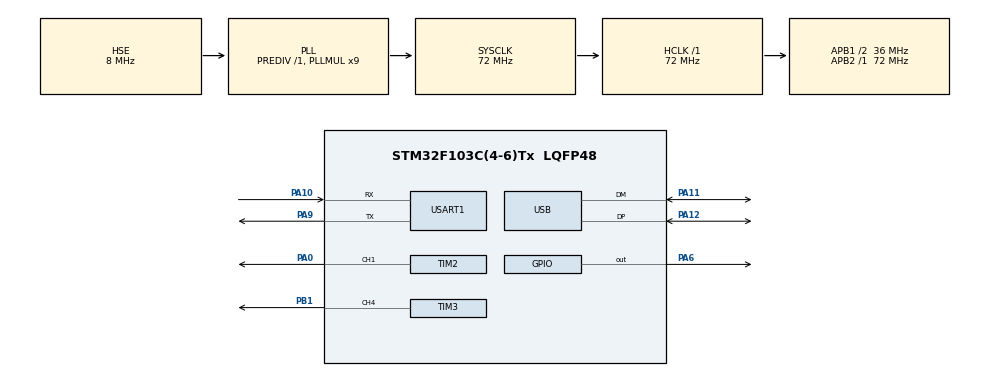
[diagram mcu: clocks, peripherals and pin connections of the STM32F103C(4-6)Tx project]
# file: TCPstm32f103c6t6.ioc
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FREERTOS.Tasks01=defaultTask,0,128,StartDefaultTask,Default,NULL,Dynamic,NULL,NULL
Mcu.Family=STM32F1
Mcu.Name=STM32F103C(4-6)Tx
Mcu.Package=LQFP48
NVIC.PriorityGroup=NVIC_PRIORITYGROUP_4
NVIC.USB_LP_CAN1_RX0_IRQn=true\:5\:0\:false\:false\:true\:true\:false\:true\:true
PA0-WKUP.Signal=S_TIM2_CH1_ETR
PA10.Mode=Asynchronous
PA10.Signal=USART1_RX
PA11.Mode=Device
PA11.Signal=USB_DM
PA12.Mode=Device
PA12.Signal=USB_DP
PA6.Signal=GPIO_Output
PA9.Mode=Asynchronous
PA9.Signal=USART1_TX
PB1.Signal=S_TIM3_CH4
PD0-OSC_IN.Mode=HSE-External-Oscillator
PD0-OSC_IN.Signal=RCC_OSC_IN
PD1-OSC_OUT.Mode=HSE-External-Oscillator
PD1-OSC_OUT.Signal=RCC_OSC_OUT
ProjectManager.HeapSize=0x200
ProjectManager.StackSize=0x400
ProjectManager.TargetToolchain=STM32CubeIDE
RCC.AHBFreq_Value=72000000
RCC.APB1CLKDivider=RCC_HCLK_DIV2
RCC.APB1Freq_Value=36000000
RCC.APB1TimFreq_Value=72000000
RCC.APB2Freq_Value=72000000
RCC.APB2TimFreq_Value=72000000
RCC.HCLKFreq_Value=72000000
RCC.PLLMUL=RCC_PLL_MUL9
RCC.SYSCLKFreq_VALUE=72000000
RCC.SYSCLKSource=RCC_SYSCLKSOURCE_PLLCLK
RCC.USBFreq_Value=48000000
RCC.USBPrescaler=RCC_USBCLKSOURCE_PLL_DIV1_5
SH.S_TIM2_CH1_ETR.0=TIM2_CH1,PWM Generation1 CH1
SH.S_TIM3_CH4.0=TIM3_CH4,PWM Generation4 CH4
TIM2.Channel-PWM\ Generation1\ CH1=TIM_CHANNEL_1
TIM3.Channel-PWM\ Generation4\ CH4=TIM_CHANNEL_4
USART1.VirtualMode=VM_ASYNC
USB_DEVICE.CLASS_NAME_FS=CDC
USB_DEVICE.VirtualMode=Cdc
USB_DEVICE.VirtualModeFS=Cdc_FS
VP_FREERTOS_VS_CMSIS_V1.Mode=CMSIS_V1
VP_SYS_VS_ND.Mode=No_Debug
VP_TIM2_VS_ClockSourceINT.Mode=Internal
VP_USB_DEVICE_VS_USB_DEVICE_CDC_FS.Mode=CDC_FS
board=custom

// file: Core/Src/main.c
/* USER CODE BEGIN Header */
/**
  ******************************************************************************
  * @file           : main.c
  * @brief          : Main program body
  ******************************************************************************
  * @attention
  *
  * Copyright (c) 2025 STMicroelectronics.
  * All rights reserved.
  *
  * This software is licensed under terms that can be found in the LICENSE file
  * in the root directory of this software component.
  * If no LICENSE file comes with this software, it is provided AS-IS.
  *
  ******************************************************************************
  */
/* USER CODE END Header */
#include "main.h"
#include "cmsis_os.h"
#include "tim.h"
#include "usart.h"
#include "usb_device.h"
#include "gpio.h"

/* USER CODE BEGIN Includes */
#include "receive.h"
#include "action.h"
#include  "pid.h"

/* USER CODE END Includes */

/* USER CODE BEGIN PTD */
#define Kp 1.0f
#define Ki 0.0f
#define Kd 0.0f

#define frks 100  // frekans değeri ms cinsinden

static PIDParameters_t PID_SoH;

/* USER CODE END PTD */

/* USER CODE BEGIN PV */
#define RX_BUFFER_SIZE 128
/* USER CODE END PV */

void SystemClock_Config(void);
void MX_FREERTOS_Init(void);

/* USER CODE BEGIN 0 */
uint8_t rx_buffer[RX_BUFFER_SIZE];
/* USER CODE END 0 */

int main(void)
{

  /* MCU Configuration--------------------------------------------------------*/

  /* Reset of all peripherals, Initializes the Flash interface and the Systick. */
  HAL_Init();

  /* Configure the system clock */
  SystemClock_Config();

  /* Initialize all configured peripherals */
  MX_GPIO_Init();
  MX_USART1_UART_Init();
  MX_TIM2_Init();
  MX_TIM3_Init();
  /* USER CODE BEGIN 2 */
  receiveData_Init();
  PID_Init(&PID_SoH, Kp, Ki, Kd);

  /* USER CODE END 2 */

  /* Call init function for freertos objects (in cmsis_os2.c) */
 /* MX_FREERTOS_Init();

  /* Start scheduler */
 /* osKernelStart();

  /* We should never get here as control is now taken by the scheduler */

  /* Infinite loop */
  while (1)
  {

    /* USER CODE BEGIN 3 */

HAL_UART_RxCpltCallback(&huart1);
hareket(rx_buffer[0]);

HAL_Delay(frks);
  }
  /* USER CODE END 3 */
}

void SystemClock_Config(void)
{
  RCC_OscInitTypeDef RCC_OscInitStruct = {0};
  RCC_ClkInitTypeDef RCC_ClkInitStruct = {0};
  RCC_PeriphCLKInitTypeDef PeriphClkInit = {0};

  /** Initializes the RCC Oscillators according to the specified parameters
  * in the RCC_OscInitTypeDef structure.
  */
  RCC_OscInitStruct.OscillatorType = RCC_OSCILLATORTYPE_HSE;
  RCC_OscInitStruct.HSEState = RCC_HSE_ON;
  RCC_OscInitStruct.HSEPredivValue = RCC_HSE_PREDIV_DIV1;
  RCC_OscInitStruct.HSIState = RCC_HSI_ON;
  RCC_OscInitStruct.PLL.PLLState = RCC_PLL_ON;
  RCC_OscInitStruct.PLL.PLLSource = RCC_PLLSOURCE_HSE;
  RCC_OscInitStruct.PLL.PLLMUL = RCC_PLL_MUL9;
  if (HAL_RCC_OscConfig(&RCC_OscInitStruct) != HAL_OK)
  {
    Error_Handler();
  }

  /** Initializes the CPU, AHB and APB buses clocks
  */
  RCC_ClkInitStruct.ClockType = RCC_CLOCKTYPE_HCLK|RCC_CLOCKTYPE_SYSCLK
                              |RCC_CLOCKTYPE_PCLK1|RCC_CLOCKTYPE_PCLK2;
  RCC_ClkInitStruct.SYSCLKSource = RCC_SYSCLKSOURCE_PLLCLK;
  RCC_ClkInitStruct.AHBCLKDivider = RCC_SYSCLK_DIV1;
  RCC_ClkInitStruct.APB1CLKDivider = RCC_HCLK_DIV2;
  RCC_ClkInitStruct.APB2CLKDivider = RCC_HCLK_DIV1;

  if (HAL_RCC_ClockConfig(&RCC_ClkInitStruct, FLASH_LATENCY_2) != HAL_OK)
  {
    Error_Handler();
  }
  PeriphClkInit.PeriphClockSelection = RCC_PERIPHCLK_USB;
  PeriphClkInit.UsbClockSelection = RCC_USBCLKSOURCE_PLL_DIV1_5;
  if (HAL_RCCEx_PeriphCLKConfig(&PeriphClkInit) != HAL_OK)
  {
    Error_Handler();
  }
}

void Error_Handler(void)
{
  __disable_irq();
  while (1)
  {
  }
}
